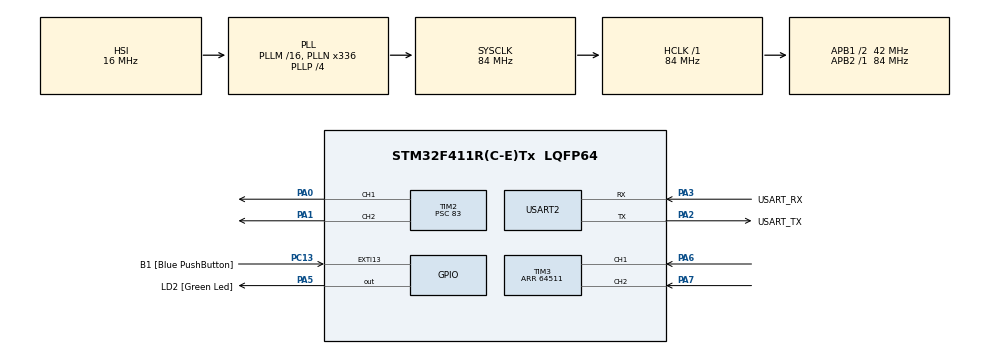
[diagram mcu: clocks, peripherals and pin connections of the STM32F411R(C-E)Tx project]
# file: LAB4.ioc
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ARM.CMSIS.5.6.0.CMSISJjCORE=true
ARM.CMSIS.5.6.0.CMSISJjDSP=Library
Mcu.Family=STM32F4
Mcu.Name=STM32F411R(C-E)Tx
Mcu.Package=LQFP64
NVIC.PriorityGroup=NVIC_PRIORITYGROUP_0
NVIC.TIM3_IRQn=true\:0\:0\:false\:false\:true\:true\:true\:true
PA0-WKUP.Signal=S_TIM2_CH1_ETR
PA1.Signal=S_TIM2_CH2
PA13.GPIO_Label=TMS
PA13.Mode=Serial_Wire
PA13.Signal=SYS_JTMS-SWDIO
PA14.GPIO_Label=TCK
PA14.Mode=Serial_Wire
PA14.Signal=SYS_JTCK-SWCLK
PA2.GPIO_Label=USART_TX
PA2.Mode=Asynchronous
PA2.Signal=USART2_TX
PA3.GPIO_Label=USART_RX
PA3.Mode=Asynchronous
PA3.Signal=USART2_RX
PA5.GPIO_Label=LD2 [Green Led]
PA5.Signal=GPIO_Output
PA6.Signal=S_TIM3_CH1
PA7.Signal=S_TIM3_CH2
PB3.GPIO_Label=SWO
PB3.Signal=SYS_JTDO-SWO
PC13-ANTI_TAMP.GPIO_Label=B1 [Blue PushButton]
PC13-ANTI_TAMP.GPIO_ModeDefaultEXTI=GPIO_MODE_IT_FALLING
PC13-ANTI_TAMP.Signal=GPXTI13
PC14-OSC32_IN.Mode=LSE-External-Oscillator
PC14-OSC32_IN.Signal=RCC_OSC32_IN
PC15-OSC32_OUT.Mode=LSE-External-Oscillator
PC15-OSC32_OUT.Signal=RCC_OSC32_OUT
PH0\ -\ OSC_IN.Mode=HSE-External-Clock-Source
PH0\ -\ OSC_IN.Signal=RCC_OSC_IN
PH1\ -\ OSC_OUT.Mode=HSE-External-Clock-Source
PH1\ -\ OSC_OUT.Signal=RCC_OSC_OUT
ProjectManager.HeapSize=0x200
ProjectManager.StackSize=0x400
ProjectManager.TargetToolchain=STM32CubeIDE
RCC.48MHZClocksFreq_Value=84000000
RCC.AHBFreq_Value=84000000
RCC.APB1CLKDivider=RCC_HCLK_DIV2
RCC.APB1Freq_Value=42000000
RCC.APB1TimFreq_Value=84000000
RCC.APB2Freq_Value=84000000
RCC.APB2TimFreq_Value=84000000
RCC.CortexFreq_Value=84000000
RCC.FLatency-AdvancedSettings=FLASH_LATENCY_2
RCC.HCLKFreq_Value=84000000
RCC.HSE_VALUE=8000000
RCC.HSI_VALUE=16000000
RCC.PLLN=336
RCC.PLLP=RCC_PLLP_DIV4
RCC.SYSCLKFreq_VALUE=84000000
RCC.SYSCLKSource=RCC_SYSCLKSOURCE_PLLCLK
RCC.VCOOutputFreq_Value=336000000
SH.S_TIM2_CH1_ETR.0=TIM2_CH1,PWM Generation1 CH1
SH.S_TIM2_CH2.0=TIM2_CH2,PWM Generation2 CH2
SH.S_TIM3_CH1.0=TIM3_CH1,Encoder_Interface
SH.S_TIM3_CH2.0=TIM3_CH2,Encoder_Interface
TIM2.Channel-PWM\ Generation1\ CH1=TIM_CHANNEL_1
TIM2.Channel-PWM\ Generation2\ CH2=TIM_CHANNEL_2
TIM2.Period=999
TIM2.Prescaler=83
TIM3.EncoderMode=TIM_ENCODERMODE_TI12
TIM3.Period=64511
USART2.VirtualMode=VM_ASYNC
VP_ARM.CMSIS_VS_CMSISJjCORE_5.3.0_5.6.0.Mode=CMSISJjCORE
VP_ARM.CMSIS_VS_CMSISJjDSP_1.7.0_5.6.0.Mode=CMSISJjDSP
board=NUCLEO-F411RE

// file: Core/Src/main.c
/* USER CODE BEGIN Header */
/**
 ******************************************************************************
 * @file           : main.c
 * @brief          : Main program body
 ******************************************************************************
 * @attention
 *
 * Copyright (c) 2023 STMicroelectronics.
 * All rights reserved.
 *
 * This software is licensed under terms that can be found in the LICENSE file
 * in the root directory of this software component.
 * If no LICENSE file comes with this software, it is provided AS-IS.
 *
 ******************************************************************************
 */
/* USER CODE END Header */
#include "main.h"

/* USER CODE BEGIN Includes */
#include "arm_math.h"
/* USER CODE END Includes */

TIM_HandleTypeDef htim2;
TIM_HandleTypeDef htim3;

UART_HandleTypeDef huart2;

/* USER CODE BEGIN PV */
uint16_t position;
uint16_t ang;
int32_t temp=0;
uint16_t ro =0;

int16_t feedback=1;

arm_pid_instance_f32 PID = {0};
uint16_t setPosition=0;
int16_t Duty=0;
float kp=1;
float ki=0;
float gain =1.5;
/* USER CODE END PV */

void SystemClock_Config(void);
static void MX_GPIO_Init(void);
static void MX_USART2_UART_Init(void);
static void MX_TIM3_Init(void);
static void MX_TIM2_Init(void);
/* USER CODE BEGIN PFP */
float Position_Motor(uint16_t pos);
uint16_t PositionMotor(uint16_t pos);
uint16_t ControlSpeed(int16_t fb);
/* USER CODE END PFP */

int main(void)
{

  /* MCU Configuration--------------------------------------------------------*/

  /* Reset of all peripherals, Initializes the Flash interface and the Systick. */
  HAL_Init();

  /* Configure the system clock */
  SystemClock_Config();

  /* Initialize all configured peripherals */
  MX_GPIO_Init();
  MX_USART2_UART_Init();
  MX_TIM3_Init();
  MX_TIM2_Init();
  /* USER CODE BEGIN 2 */
  HAL_TIM_Encoder_Start(&htim3,TIM_CHANNEL_1|TIM_CHANNEL_2);
  HAL_TIM_Base_Start_IT(&htim3);

  HAL_TIM_Base_Start(&htim2);
  HAL_TIM_PWM_Start(&htim2, TIM_CHANNEL_1);
  HAL_TIM_PWM_Start(&htim2, TIM_CHANNEL_2);
 // HAL_TIM_Encoder_Start_IT(&htim3,TIM_CHANNEL_1|TIM_CHANNEL_2);
  PID.Kp = kp;
  PID.Ki = ki;
  arm_pid_init_f32(&PID,0);
  /* USER CODE END 2 */

  /* Infinite loop */
	while (1) {

    /* USER CODE BEGIN 3 */
		static uint32_t timestamp = 0;
		//Use Timer Intterupt
		if (HAL_GetTick() > timestamp) {
			timestamp = HAL_GetTick() + 5;
			position = __HAL_TIM_GET_COUNTER(&htim3);
			//ang = Position_Motor(position);
			ang=PositionMotor(position);
			feedback=(arm_pid_f32(&PID, setPosition-ang))*gain;
			ro=ang/360;
			if(feedback>0){
				__HAL_TIM_SET_COMPARE(&htim2, TIM_CHANNEL_1, ControlSpeed(feedback));
				__HAL_TIM_SET_COMPARE(&htim2, TIM_CHANNEL_2, 0);
			}
			else if(feedback<0) {
				__HAL_TIM_SET_COMPARE(&htim2, TIM_CHANNEL_2, ControlSpeed(feedback*-1));
				__HAL_TIM_SET_COMPARE(&htim2, TIM_CHANNEL_1, 0);
			}
			else {
				__HAL_TIM_SET_COMPARE(&htim2, TIM_CHANNEL_1, 0);
				__HAL_TIM_SET_COMPARE(&htim2, TIM_CHANNEL_2, 0);
			}

		}
	}
  /* USER CODE END 3 */
}

void SystemClock_Config(void)
{
  RCC_OscInitTypeDef RCC_OscInitStruct = {0};
  RCC_ClkInitTypeDef RCC_ClkInitStruct = {0};

  /** Configure the main internal regulator output voltage
  */
  __HAL_RCC_PWR_CLK_ENABLE();
  __HAL_PWR_VOLTAGESCALING_CONFIG(PWR_REGULATOR_VOLTAGE_SCALE1);

  /** Initializes the RCC Oscillators according to the specified parameters
  * in the RCC_OscInitTypeDef structure.
  */
  RCC_OscInitStruct.OscillatorType = RCC_OSCILLATORTYPE_HSI;
  RCC_OscInitStruct.HSIState = RCC_HSI_ON;
  RCC_OscInitStruct.HSICalibrationValue = RCC_HSICALIBRATION_DEFAULT;
  RCC_OscInitStruct.PLL.PLLState = RCC_PLL_ON;
  RCC_OscInitStruct.PLL.PLLSource = RCC_PLLSOURCE_HSI;
  RCC_OscInitStruct.PLL.PLLM = 16;
  RCC_OscInitStruct.PLL.PLLN = 336;
  RCC_OscInitStruct.PLL.PLLP = RCC_PLLP_DIV4;
  RCC_OscInitStruct.PLL.PLLQ = 4;
  if (HAL_RCC_OscConfig(&RCC_OscInitStruct) != HAL_OK)
  {
    Error_Handler();
  }

  /** Initializes the CPU, AHB and APB buses clocks
  */
  RCC_ClkInitStruct.ClockType = RCC_CLOCKTYPE_HCLK|RCC_CLOCKTYPE_SYSCLK
                              |RCC_CLOCKTYPE_PCLK1|RCC_CLOCKTYPE_PCLK2;
  RCC_ClkInitStruct.SYSCLKSource = RCC_SYSCLKSOURCE_PLLCLK;
  RCC_ClkInitStruct.AHBCLKDivider = RCC_SYSCLK_DIV1;
  RCC_ClkInitStruct.APB1CLKDivider = RCC_HCLK_DIV2;
  RCC_ClkInitStruct.APB2CLKDivider = RCC_HCLK_DIV1;

  if (HAL_RCC_ClockConfig(&RCC_ClkInitStruct, FLASH_LATENCY_2) != HAL_OK)
  {
    Error_Handler();
  }
}

static void MX_TIM2_Init(void)
{

  TIM_MasterConfigTypeDef sMasterConfig = {0};
  TIM_OC_InitTypeDef sConfigOC = {0};

  htim2.Instance = TIM2;
  htim2.Init.Prescaler = 83;
  htim2.Init.CounterMode = TIM_COUNTERMODE_UP;
  htim2.Init.Period = 999;
  htim2.Init.ClockDivision = TIM_CLOCKDIVISION_DIV1;
  htim2.Init.AutoReloadPreload = TIM_AUTORELOAD_PRELOAD_DISABLE;
  if (HAL_TIM_PWM_Init(&htim2) != HAL_OK)
  {
    Error_Handler();
  }
  sMasterConfig.MasterOutputTrigger = TIM_TRGO_RESET;
  sMasterConfig.MasterSlaveMode = TIM_MASTERSLAVEMODE_DISABLE;
  if (HAL_TIMEx_MasterConfigSynchronization(&htim2, &sMasterConfig) != HAL_OK)
  {
    Error_Handler();
  }
  sConfigOC.OCMode = TIM_OCMODE_PWM1;
  sConfigOC.Pulse = 0;
  sConfigOC.OCPolarity = TIM_OCPOLARITY_HIGH;
  sConfigOC.OCFastMode = TIM_OCFAST_DISABLE;
  if (HAL_TIM_PWM_ConfigChannel(&htim2, &sConfigOC, TIM_CHANNEL_1) != HAL_OK)
  {
    Error_Handler();
  }
  if (HAL_TIM_PWM_ConfigChannel(&htim2, &sConfigOC, TIM_CHANNEL_2) != HAL_OK)
  {
    Error_Handler();
  }
  HAL_TIM_MspPostInit(&htim2);

}

static void MX_TIM3_Init(void)
{

  TIM_Encoder_InitTypeDef sConfig = {0};
  TIM_MasterConfigTypeDef sMasterConfig = {0};

  htim3.Instance = TIM3;
  htim3.Init.Prescaler = 0;
  htim3.Init.CounterMode = TIM_COUNTERMODE_UP;
  htim3.Init.Period = 64511;
  htim3.Init.ClockDivision = TIM_CLOCKDIVISION_DIV1;
  htim3.Init.AutoReloadPreload = TIM_AUTORELOAD_PRELOAD_DISABLE;
  sConfig.EncoderMode = TIM_ENCODERMODE_TI12;
  sConfig.IC1Polarity = TIM_ICPOLARITY_RISING;
  sConfig.IC1Selection = TIM_ICSELECTION_DIRECTTI;
  sConfig.IC1Prescaler = TIM_ICPSC_DIV1;
  sConfig.IC1Filter = 0;
  sConfig.IC2Polarity = TIM_ICPOLARITY_RISING;
  sConfig.IC2Selection = TIM_ICSELECTION_DIRECTTI;
  sConfig.IC2Prescaler = TIM_ICPSC_DIV1;
  sConfig.IC2Filter = 0;
  if (HAL_TIM_Encoder_Init(&htim3, &sConfig) != HAL_OK)
  {
    Error_Handler();
  }
  sMasterConfig.MasterOutputTrigger = TIM_TRGO_RESET;
  sMasterConfig.MasterSlaveMode = TIM_MASTERSLAVEMODE_DISABLE;
  if (HAL_TIMEx_MasterConfigSynchronization(&htim3, &sMasterConfig) != HAL_OK)
  {
    Error_Handler();
  }

}

static void MX_USART2_UART_Init(void)
{

  huart2.Instance = USART2;
  huart2.Init.BaudRate = 115200;
  huart2.Init.WordLength = UART_WORDLENGTH_8B;
  huart2.Init.StopBits = UART_STOPBITS_1;
  huart2.Init.Parity = UART_PARITY_NONE;
  huart2.Init.Mode = UART_MODE_TX_RX;
  huart2.Init.HwFlowCtl = UART_HWCONTROL_NONE;
  huart2.Init.OverSampling = UART_OVERSAMPLING_16;
  if (HAL_UART_Init(&huart2) != HAL_OK)
  {
    Error_Handler();
  }

}

static void MX_GPIO_Init(void)
{
  GPIO_InitTypeDef GPIO_InitStruct = {0};

  /* GPIO Ports Clock Enable */
  __HAL_RCC_GPIOC_CLK_ENABLE();
  __HAL_RCC_GPIOH_CLK_ENABLE();
  __HAL_RCC_GPIOA_CLK_ENABLE();
  __HAL_RCC_GPIOB_CLK_ENABLE();

  /*Configure GPIO pin Output Level */
  HAL_GPIO_WritePin(LD2_GPIO_Port, LD2_Pin, GPIO_PIN_RESET);

  /*Configure GPIO pin : B1_Pin */
  GPIO_InitStruct.Pin = B1_Pin;
  GPIO_InitStruct.Mode = GPIO_MODE_IT_FALLING;
  GPIO_InitStruct.Pull = GPIO_NOPULL;
  HAL_GPIO_Init(B1_GPIO_Port, &GPIO_InitStruct);

  /*Configure GPIO pin : LD2_Pin */
  GPIO_InitStruct.Pin = LD2_Pin;
  GPIO_InitStruct.Mode = GPIO_MODE_OUTPUT_PP;
  GPIO_InitStruct.Pull = GPIO_NOPULL;
  GPIO_InitStruct.Speed = GPIO_SPEED_FREQ_LOW;
  HAL_GPIO_Init(LD2_GPIO_Port, &GPIO_InitStruct);

}

/* USER CODE BEGIN 4 */
float Position_Motor(uint16_t pos){
	static uint16_t last_pos=0;
	if((pos-last_pos)<0&&feedback>=0)temp+=7560;
	if((pos-last_pos)>10000&&feedback<0)temp-=7560;
	//else if((pos-last_pos)>=1000) temp-=7560;
	ang=((pos/(3071.0*21))*(360.0*21))+temp;
	last_pos=pos;
	return ang;
}
uint16_t PositionMotor(uint16_t pos){
	return ((pos/(3071.0*21))*(360.0*21))+temp;
}
uint16_t ControlSpeed(int16_t fb){
	static uint16_t speed;
	if(fb<100) return 50;
	else return fb;

}
void HAL_TIM_PeriodElapsedCallback(TIM_HandleTypeDef *htim)
{
	if(htim==&htim3&&ang!=0){
		if(feedback>=0) temp+=7560;
		else temp-=7560;
	}
}
/* USER CODE END 4 */

void Error_Handler(void)
{
	__disable_irq();
	while (1) {
	}
}
